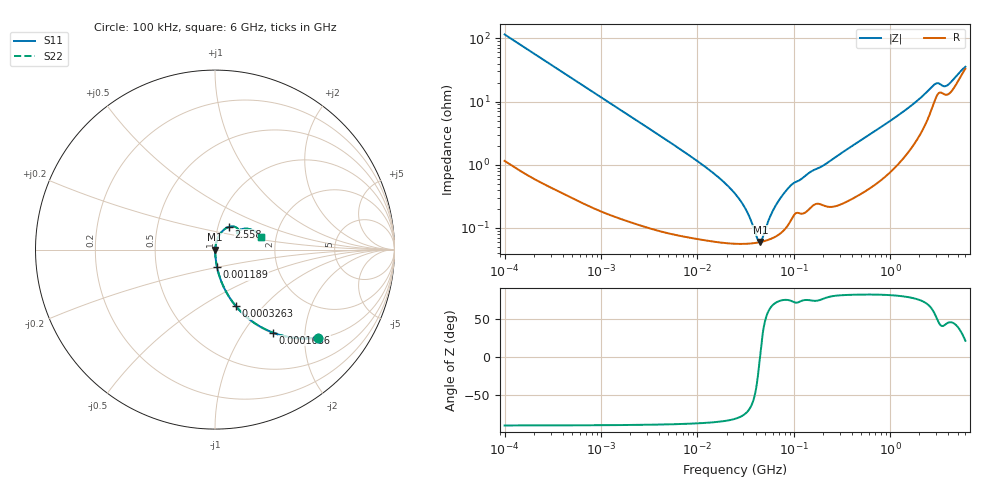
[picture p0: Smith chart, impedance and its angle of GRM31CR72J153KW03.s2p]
!Murata Part Number: GRM31CR72J153KW03
!These Parameters are Measured in Series Mode Connection
!Data Generated on Mar 30, 2021
!  o--ll--o
!Port1  Port2
!  o------o
!Operation Temp=25[degC], DC Bias Voltage=0[V]
!Freq. Start=100[kHz] Stop=6[GHz] 401[Steps]
# Hz S RI R 50
!Freq.(Hz) S11(Real) S11(Imag) S21(Real) S21(Imag) S12(Real) S12(Imag) S22(Real) S22(Imag)
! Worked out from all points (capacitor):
!   401 points, 100 kHz to 6 GHz, reference 50 ohm
!   read as one part in series: C = 13.7 nF near 105.7 kHz
!   lowest |Z| = 59.9 mohm at 44.86 MHz (marker M1)
!   series resonance near 44.44 MHz, so ESL is about 930 pH
!   S11 on the Smith chart (normalised r, x): 100 kHz: 1.02, -2.31; 168.6 kHz: 1.01, -1.38; 326.3 kHz: 1.01, -0.71; 1.189 MHz: 1.00, -0.20; 2.558 GHz: 1.13, +0.29; 6 GHz: 1.66, +0.26
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100000  0.5714 -0.4899  0.4286 0.4899  0.4286 0.4899  0.5714 -0.4899
168641  0.3229 -0.4625  0.6771 0.4625  0.6771 0.4625  0.3229 -0.4625
326326  0.1157 -0.3142  0.8843 0.3142  0.8843 0.3142  0.1157 -0.3142
631452  0.0354 -0.1782  0.9646 0.1782  0.9646 0.1782  0.0354 -0.1782
1188732  0.0112 -0.0975  0.9888 0.0975  0.9888 0.0975  0.0112 -0.0975
3987316  0.00176 -0.0294  0.9982 0.0294  0.9982 0.0294  0.00176 -0.0294
1.374747e7  0.000677 -0.0079  0.9993 0.0079  0.9993 0.0079  0.000677 -0.0079
2.517799e7  0.00057 -0.00327  0.9994 0.00327  0.9994 0.00327  0.00057 -0.00327
3.224998e7  0.000563 -0.00178  0.9994 0.00178  0.9994 0.00178  0.000563 -0.00178
4.130835e7  0.000582 -0.000402  0.9994 0.000402  0.9994 0.000402  0.000582 -0.000402
4.486152e7  0.000596 5.2e-05  0.9994 -5.2e-05  0.9994 -5.2e-05  0.000596 5.2e-05
4.739851e7  0.000608 0.000355  0.9994 -0.000355  0.9994 -0.000355  0.000608 0.000355
5.906466e7  0.000683 0.0016  0.9993 -0.0016  0.9993 -0.0016  0.000683 0.0016
7.565474e7  0.000873 0.00312  0.9991 -0.00312  0.9991 -0.00312  0.000873 0.00312
9.690463e7  0.00149 0.00475  0.9985 -0.00475  0.9985 -0.00475  0.00149 0.00475
1.546735e8  0.00225 0.00765  0.9977 -0.00765  0.9977 -0.00765  0.00225 0.00765
9.76689e8  0.00958 0.0472  0.9904 -0.0472  0.9904 -0.0472  0.00958 0.0472
2.55767e9  0.0762 0.1262  0.9238 -0.1262  0.9238 -0.1262  0.0762 0.1262
3.016594e9  0.1245 0.1189  0.8755 -0.1189  0.8755 -0.1189  0.1245 0.1189
3.863894e9  0.1248 0.0972  0.8752 -0.0972  0.8752 -0.0972  0.1248 0.0972
4.949184e9  0.1845 0.1158  0.8155 -0.1158  0.8155 -0.1158  0.1845 0.1158
6e9  0.2561 0.0728  0.7439 -0.0728  0.7439 -0.0728  0.2561 0.0728
